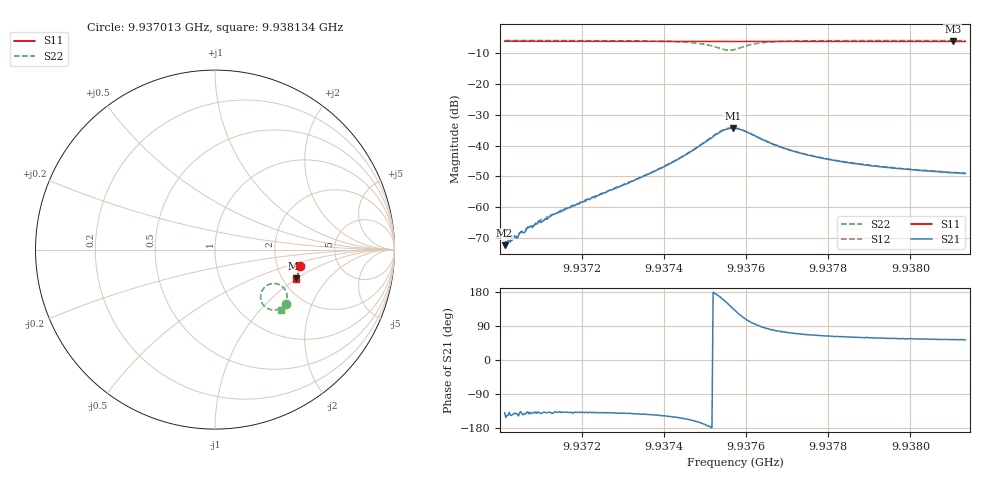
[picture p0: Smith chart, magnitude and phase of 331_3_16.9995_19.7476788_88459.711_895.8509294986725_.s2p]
#  HZ  S  RI  R  50.00
! Rohde & Schwarz Vector Network Analyzer
! Rohde-Schwarz,ZNB20-2Port,1311601062101988,3.16
! Created: UTC 3/20/2024, 11:06:56 PM
! freq[Hz]  re:S11  im:S11  re:S21  im:S21  re:S12  im:S12  re:S22  im:S22
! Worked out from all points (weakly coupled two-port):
!   401 points, 9.937013 GHz to 9.938134 GHz, reference 50 ohm
!   highest |S21| = -34.35 dB at 9.937567 GHz (marker M1); lowest = -72.3 dB at 9.937013 GHz (marker M2)
!   lowest |S11| = -6.4 dB at 9.938103 GHz (marker M3), VSWR 2.85, Z = 118 - j49.2 ohm
!   |S11| at or under -10 dB: nowhere
!   |S22| runs from -9.2 to -6.0 dB; largest |S21 - S12| = 0.00082
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9.9370125e9  0.4763 -0.0889  -0.000184 -0.00016  -0.000218 -9.13e-05  0.3983 -0.3007
9.9370209e9  0.4762 -0.0895  -0.000237 -0.00016  -0.000233 -0.000167  0.3978 -0.3012
9.9370266e9  0.4762 -0.0899  -0.000226 -0.000154  -0.000235 -0.000179  0.3975 -0.3017
9.9370434e9  0.4758 -0.091  -0.000251 -0.000194  -0.000306 -0.000205  0.3962 -0.3029
9.9370714e9  0.4754 -0.0929  -0.000374 -0.000288  -0.000408 -0.000288  0.3943 -0.3048
9.937105e9  0.4747 -0.0952  -0.00046 -0.000395  -0.00049 -0.00041  0.3918 -0.3075
9.9371303e9  0.4743 -0.0969  -0.000601 -0.000489  -0.000559 -0.000523  0.3898 -0.3092
9.9372003e9  0.4731 -0.1016  -0.000906 -0.00082  -0.00091 -0.000839  0.3833 -0.3148
9.9373881e9  0.4692 -0.1144  -0.00344 -0.00233  -0.00352 -0.0023  0.3523 -0.3327
9.937447e9  0.4677 -0.1183  -0.00603 -0.0029  -0.00616 -0.00289  0.328 -0.3365
9.9375002e9  0.4658 -0.122  -0.0111 -0.00189  -0.0114 -0.00171  0.2857 -0.3234
9.9375423e9  0.4641 -0.1241  -0.0163 0.00558  -0.0166 0.00617  0.2542 -0.2578
9.9375675e9  0.4637 -0.1247  -0.0139 0.0132  -0.0137 0.0136  0.2861 -0.2019
9.9375731e9  0.4637 -0.1249  -0.0124 0.0143  -0.012 0.0149  0.2991 -0.1949
9.9375927e9  0.4639 -0.1257  -0.00682 0.0162  -0.00644 0.0164  0.3449 -0.191
9.937632e9  0.4639 -0.1286  -2.41e-05 0.0132  0.000361 0.0133  0.3922 -0.2268
9.9376936e9  0.4631 -0.1329  0.00253 0.00861  0.00278 0.00856  0.4015 -0.2698
9.9377609e9  0.4613 -0.1376  0.00276 0.00617  0.0029 0.00619  0.3965 -0.2925
9.9378422e9  0.4595 -0.143  0.00261 0.00472  0.00273 0.0047  0.389 -0.3077
9.9379487e9  0.457 -0.1501  0.00242 0.00371  0.00251 0.00368  0.3805 -0.3205
9.9381028e9  0.4527 -0.1599  0.00212 0.00293  0.00219 0.00293  0.3701 -0.333
9.9381337e9  0.4522 -0.1619  0.00212 0.00283  0.0022 0.0028  0.3678 -0.3352
